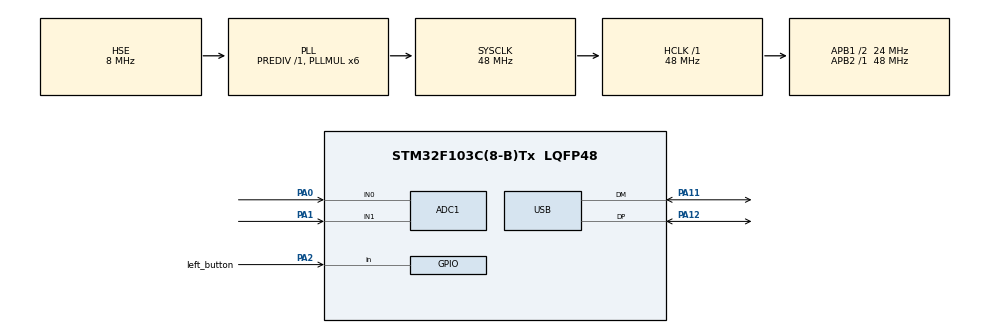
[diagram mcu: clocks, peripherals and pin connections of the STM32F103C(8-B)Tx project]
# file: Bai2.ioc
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ADC1.Channel-0\#ChannelRegularConversion=ADC_CHANNEL_0
ADC1.Channel-1\#ChannelRegularConversion=ADC_CHANNEL_1
ADC1.ContinuousConvMode=ENABLE
ADC1.NbrOfConversion=2
ADC1.NbrOfConversionFlag=1
ADC1.Rank-0\#ChannelRegularConversion=1
ADC1.Rank-1\#ChannelRegularConversion=2
ADC1.SamplingTime-0\#ChannelRegularConversion=ADC_SAMPLETIME_239CYCLES_5
ADC1.SamplingTime-1\#ChannelRegularConversion=ADC_SAMPLETIME_239CYCLES_5
ADC1.master=1
Dma.ADC1.0.Direction=DMA_PERIPH_TO_MEMORY
Dma.ADC1.0.Instance=DMA1_Channel1
Dma.ADC1.0.MemDataAlignment=DMA_MDATAALIGN_HALFWORD
Dma.ADC1.0.MemInc=DMA_MINC_ENABLE
Dma.ADC1.0.Mode=DMA_CIRCULAR
Dma.ADC1.0.PeriphDataAlignment=DMA_PDATAALIGN_HALFWORD
Dma.ADC1.0.PeriphInc=DMA_PINC_DISABLE
Dma.ADC1.0.Priority=DMA_PRIORITY_LOW
Dma.Request0=ADC1
Mcu.Family=STM32F1
Mcu.Name=STM32F103C(8-B)Tx
Mcu.Package=LQFP48
NVIC.DMA1_Channel1_IRQn=true\:0\:0\:false\:false\:true\:false\:true
NVIC.PriorityGroup=NVIC_PRIORITYGROUP_4
NVIC.USB_LP_CAN1_RX0_IRQn=true\:0\:0\:false\:false\:true\:false\:true
PA0-WKUP.Signal=ADCx_IN0
PA1.Signal=ADCx_IN1
PA11.Mode=Device
PA11.Signal=USB_DM
PA12.Mode=Device
PA12.Signal=USB_DP
PA13.Mode=Serial_Wire
PA13.Signal=SYS_JTMS-SWDIO
PA14.Mode=Serial_Wire
PA14.Signal=SYS_JTCK-SWCLK
PA2.GPIO_Label=left_button
PA2.GPIO_PuPd=GPIO_PULLUP
PA2.Signal=GPIO_Input
PD0-OSC_IN.Mode=HSE-External-Oscillator
PD0-OSC_IN.Signal=RCC_OSC_IN
PD1-OSC_OUT.Mode=HSE-External-Oscillator
PD1-OSC_OUT.Signal=RCC_OSC_OUT
ProjectManager.HeapSize=0x200
ProjectManager.StackSize=0x400
ProjectManager.TargetToolchain=MDK-ARM V5.27
RCC.ADCPresc=RCC_ADCPCLK2_DIV4
RCC.AHBFreq_Value=48000000
RCC.APB1CLKDivider=RCC_HCLK_DIV2
RCC.APB1Freq_Value=24000000
RCC.APB1TimFreq_Value=48000000
RCC.APB2Freq_Value=48000000
RCC.APB2TimFreq_Value=48000000
RCC.HCLKFreq_Value=48000000
RCC.PLLMUL=RCC_PLL_MUL6
RCC.SYSCLKFreq_VALUE=48000000
RCC.SYSCLKSource=RCC_SYSCLKSOURCE_PLLCLK
RCC.USBFreq_Value=48000000
SH.ADCx_IN0.0=ADC1_IN0,IN0
SH.ADCx_IN1.0=ADC1_IN1,IN1
USB_DEVICE.CLASS_NAME_FS=HID
USB_DEVICE.VirtualMode=Hid
USB_DEVICE.VirtualModeFS=Hid_FS
VP_USB_DEVICE_VS_USB_DEVICE_HID_FS.Mode=HID_FS
board=custom

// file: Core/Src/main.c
/* USER CODE BEGIN Header */
/**
  ******************************************************************************
  * @file           : main.c
  * @brief          : Main program body
  ******************************************************************************
  * @attention
  *
  * <h2><center>&copy; Copyright (c) 2021 STMicroelectronics.
  * All rights reserved.</center></h2>
  *
  * This software component is licensed by ST under Ultimate Liberty license
  * SLA0044, the "License"; You may not use this file except in compliance with
  * the License. You may obtain a copy of the License at:
  *                             www.st.com/SLA0044
  *
  ******************************************************************************
  */
/* USER CODE END Header */
#include "main.h"
#include "usb_device.h"

/* USER CODE BEGIN Includes */
#include "usbd_hid.h"
/* USER CODE END Includes */

/* USER CODE BEGIN PM */
int8_t mouse_report[5];
uint16_t ADC_val[2];
/* USER CODE END PM */

ADC_HandleTypeDef hadc1;
DMA_HandleTypeDef hdma_adc1;

void SystemClock_Config(void);
static void MX_GPIO_Init(void);
static void MX_DMA_Init(void);
static void MX_ADC1_Init(void);
/* USER CODE BEGIN PFP */
extern USBD_HandleTypeDef hUsbDeviceFS;
/* USER CODE END PFP */

/* USER CODE BEGIN 0 */
long map(long x, long in_min, long in_max, long out_min, long out_max)
{
	long value;
	value = (x - in_min) * (out_max - out_min)/(in_max - in_min) + out_min;
	return value;
}

void Mouse_GetAction(void)
{
	static uint8_t button = 0;
	int8_t XPos, YPos = 0;
	if(HAL_GPIO_ReadPin(left_button_GPIO_Port,left_button_Pin) == 0)
	{
		button = 1;
	}
	else
	{
		button = 0;
	}
	XPos = map(ADC_val[0],0,4096,-127,127);
	YPos = map(ADC_val[1],0,4096,-127,127);

	mouse_report[0] = button;
	mouse_report[1] = XPos;
	mouse_report[2] = YPos;
	mouse_report[3] = 0;
	mouse_report[4] = 0;
}
/* USER CODE END 0 */

int main(void)
{

  /* MCU Configuration--------------------------------------------------------*/

  /* Reset of all peripherals, Initializes the Flash interface and the Systick. */
  HAL_Init();

  /* Configure the system clock */
  SystemClock_Config();

  /* Initialize all configured peripherals */
  MX_GPIO_Init();
  MX_DMA_Init();
  MX_ADC1_Init();
  MX_USB_DEVICE_Init();
  /* USER CODE BEGIN 2 */
	HAL_ADC_Start_DMA(&hadc1, (uint32_t *)ADC_val,2);
  /* USER CODE END 2 */

  /* Infinite loop */
  while (1)
  {

    /* USER CODE BEGIN 3 */
		Mouse_GetAction();
		USBD_HID_SendReport(&hUsbDeviceFS,(uint8_t *)mouse_report,5);
  }
  /* USER CODE END 3 */
}

void SystemClock_Config(void)
{
  RCC_OscInitTypeDef RCC_OscInitStruct = {0};
  RCC_ClkInitTypeDef RCC_ClkInitStruct = {0};
  RCC_PeriphCLKInitTypeDef PeriphClkInit = {0};

  /** Initializes the RCC Oscillators according to the specified parameters
  * in the RCC_OscInitTypeDef structure.
  */
  RCC_OscInitStruct.OscillatorType = RCC_OSCILLATORTYPE_HSE;
  RCC_OscInitStruct.HSEState = RCC_HSE_ON;
  RCC_OscInitStruct.HSEPredivValue = RCC_HSE_PREDIV_DIV1;
  RCC_OscInitStruct.HSIState = RCC_HSI_ON;
  RCC_OscInitStruct.PLL.PLLState = RCC_PLL_ON;
  RCC_OscInitStruct.PLL.PLLSource = RCC_PLLSOURCE_HSE;
  RCC_OscInitStruct.PLL.PLLMUL = RCC_PLL_MUL6;
  if (HAL_RCC_OscConfig(&RCC_OscInitStruct) != HAL_OK)
  {
    Error_Handler();
  }
  /** Initializes the CPU, AHB and APB buses clocks
  */
  RCC_ClkInitStruct.ClockType = RCC_CLOCKTYPE_HCLK|RCC_CLOCKTYPE_SYSCLK
                              |RCC_CLOCKTYPE_PCLK1|RCC_CLOCKTYPE_PCLK2;
  RCC_ClkInitStruct.SYSCLKSource = RCC_SYSCLKSOURCE_PLLCLK;
  RCC_ClkInitStruct.AHBCLKDivider = RCC_SYSCLK_DIV1;
  RCC_ClkInitStruct.APB1CLKDivider = RCC_HCLK_DIV2;
  RCC_ClkInitStruct.APB2CLKDivider = RCC_HCLK_DIV1;

  if (HAL_RCC_ClockConfig(&RCC_ClkInitStruct, FLASH_LATENCY_1) != HAL_OK)
  {
    Error_Handler();
  }
  PeriphClkInit.PeriphClockSelection = RCC_PERIPHCLK_ADC|RCC_PERIPHCLK_USB;
  PeriphClkInit.AdcClockSelection = RCC_ADCPCLK2_DIV4;
  PeriphClkInit.UsbClockSelection = RCC_USBCLKSOURCE_PLL;
  if (HAL_RCCEx_PeriphCLKConfig(&PeriphClkInit) != HAL_OK)
  {
    Error_Handler();
  }
}

static void MX_ADC1_Init(void)
{

  ADC_ChannelConfTypeDef sConfig = {0};

  /** Common config
  */
  hadc1.Instance = ADC1;
  hadc1.Init.ScanConvMode = ADC_SCAN_ENABLE;
  hadc1.Init.ContinuousConvMode = ENABLE;
  hadc1.Init.DiscontinuousConvMode = DISABLE;
  hadc1.Init.ExternalTrigConv = ADC_SOFTWARE_START;
  hadc1.Init.DataAlign = ADC_DATAALIGN_RIGHT;
  hadc1.Init.NbrOfConversion = 2;
  if (HAL_ADC_Init(&hadc1) != HAL_OK)
  {
    Error_Handler();
  }
  /** Configure Regular Channel
  */
  sConfig.Channel = ADC_CHANNEL_0;
  sConfig.Rank = ADC_REGULAR_RANK_1;
  sConfig.SamplingTime = ADC_SAMPLETIME_239CYCLES_5;
  if (HAL_ADC_ConfigChannel(&hadc1, &sConfig) != HAL_OK)
  {
    Error_Handler();
  }
  /** Configure Regular Channel
  */
  sConfig.Channel = ADC_CHANNEL_1;
  sConfig.Rank = ADC_REGULAR_RANK_2;
  if (HAL_ADC_ConfigChannel(&hadc1, &sConfig) != HAL_OK)
  {
    Error_Handler();
  }

}

static void MX_DMA_Init(void)
{

  /* DMA controller clock enable */
  __HAL_RCC_DMA1_CLK_ENABLE();

  /* DMA interrupt init */
  /* DMA1_Channel1_IRQn interrupt configuration */
  HAL_NVIC_SetPriority(DMA1_Channel1_IRQn, 0, 0);
  HAL_NVIC_EnableIRQ(DMA1_Channel1_IRQn);

}

static void MX_GPIO_Init(void)
{
  GPIO_InitTypeDef GPIO_InitStruct = {0};

  /* GPIO Ports Clock Enable */
  __HAL_RCC_GPIOC_CLK_ENABLE();
  __HAL_RCC_GPIOD_CLK_ENABLE();
  __HAL_RCC_GPIOA_CLK_ENABLE();
  __HAL_RCC_GPIOB_CLK_ENABLE();

  /*Configure GPIO pins : PC13 PC14 PC15 */
  GPIO_InitStruct.Pin = GPIO_PIN_13|GPIO_PIN_14|GPIO_PIN_15;
  GPIO_InitStruct.Mode = GPIO_MODE_ANALOG;
  HAL_GPIO_Init(GPIOC, &GPIO_InitStruct);

  /*Configure GPIO pin : left_button_Pin */
  GPIO_InitStruct.Pin = left_button_Pin;
  GPIO_InitStruct.Mode = GPIO_MODE_INPUT;
  GPIO_InitStruct.Pull = GPIO_PULLUP;
  HAL_GPIO_Init(left_button_GPIO_Port, &GPIO_InitStruct);

  /*Configure GPIO pins : PA3 PA4 PA5 PA6
                           PA7 PA8 PA9 PA10
                           PA15 */
  GPIO_InitStruct.Pin = GPIO_PIN_3|GPIO_PIN_4|GPIO_PIN_5|GPIO_PIN_6
                          |GPIO_PIN_7|GPIO_PIN_8|GPIO_PIN_9|GPIO_PIN_10
                          |GPIO_PIN_15;
  GPIO_InitStruct.Mode = GPIO_MODE_ANALOG;
  HAL_GPIO_Init(GPIOA, &GPIO_InitStruct);

  /*Configure GPIO pins : PB0 PB1 PB2 PB10
                           PB11 PB12 PB13 PB14
                           PB15 PB3 PB4 PB5
                           PB6 PB7 PB8 PB9 */
  GPIO_InitStruct.Pin = GPIO_PIN_0|GPIO_PIN_1|GPIO_PIN_2|GPIO_PIN_10
                          |GPIO_PIN_11|GPIO_PIN_12|GPIO_PIN_13|GPIO_PIN_14
                          |GPIO_PIN_15|GPIO_PIN_3|GPIO_PIN_4|GPIO_PIN_5
                          |GPIO_PIN_6|GPIO_PIN_7|GPIO_PIN_8|GPIO_PIN_9;
  GPIO_InitStruct.Mode = GPIO_MODE_ANALOG;
  HAL_GPIO_Init(GPIOB, &GPIO_InitStruct);

}

void Error_Handler(void)
{
  __disable_irq();
  while (1)
  {
  }
}

/************************ (C) COPYRIGHT STMicroelectronics *****END OF FILE****/
